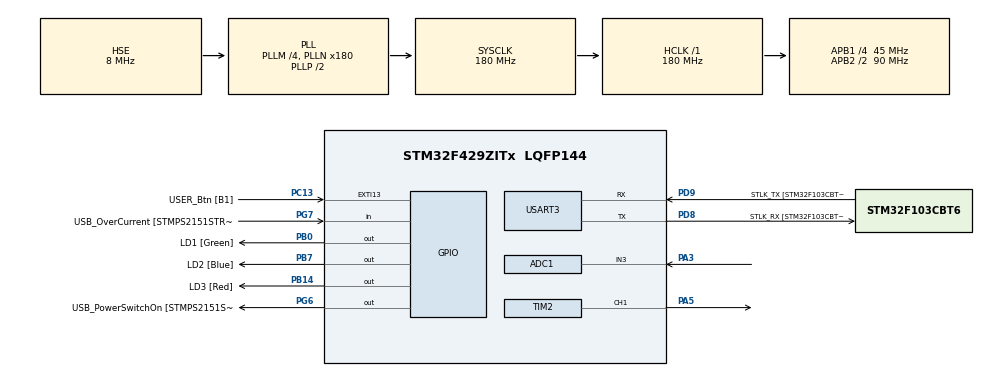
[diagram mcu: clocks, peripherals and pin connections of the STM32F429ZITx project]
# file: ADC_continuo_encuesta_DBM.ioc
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ADC1.Channel-1\#ChannelRegularConversion=ADC_CHANNEL_3
ADC1.ClockPrescaler=ADC_CLOCK_SYNC_PCLK_DIV4
ADC1.ContinuousConvMode=ENABLE
ADC1.NbrOfConversion=1
ADC1.NbrOfConversionFlag=1
ADC1.Rank-1\#ChannelRegularConversion=1
ADC1.SamplingTime-1\#ChannelRegularConversion=ADC_SAMPLETIME_480CYCLES
ADC1.master=1
Mcu.Family=STM32F4
Mcu.Name=STM32F429ZITx
Mcu.Package=LQFP144
NVIC.PriorityGroup=NVIC_PRIORITYGROUP_4
PA1.GPIO_Label=RMII_REF_CLK [LAN8742A-CZ-TR_REFCLK0]
PA1.Signal=ETH_REF_CLK
PA10.GPIO_Label=USB_ID
PA10.Signal=USB_OTG_FS_ID
PA11.GPIO_Label=USB_DM
PA11.Signal=USB_OTG_FS_DM
PA12.GPIO_Label=USB_DP
PA12.Signal=USB_OTG_FS_DP
PA13.GPIO_Label=TMS
PA13.Mode=Serial_Wire
PA13.Signal=SYS_JTMS-SWDIO
PA14.GPIO_Label=TCK
PA14.Mode=Serial_Wire
PA14.Signal=SYS_JTCK-SWCLK
PA2.GPIO_Label=RMII_MDIO [LAN8742A-CZ-TR_MDIO]
PA2.Signal=ETH_MDIO
PA3.Signal=ADCx_IN3
PA5.Signal=S_TIM2_CH1_ETR
PA7.GPIO_Label=RMII_CRS_DV [LAN8742A-CZ-TR_CRS_DV]
PA7.Signal=ETH_CRS_DV
PA8.GPIO_Label=USB_SOF [TP1]
PA8.Signal=USB_OTG_FS_SOF
PA9.GPIO_Label=USB_VBUS
PA9.Signal=USB_OTG_FS_VBUS
PB0.GPIO_Label=LD1 [Green]
PB0.Signal=GPIO_Output
PB13.GPIO_Label=RMII_TXD1 [LAN8742A-CZ-TR_TXD1]
PB13.Signal=ETH_TXD1
PB14.GPIO_Label=LD3 [Red]
PB14.Signal=GPIO_Output
PB7.GPIO_Label=LD2 [Blue]
PB7.Signal=GPIO_Output
PC1.GPIO_Label=RMII_MDC [LAN8742A-CZ-TR_MDC]
PC1.Signal=ETH_MDC
PC13.GPIO_Label=USER_Btn [B1]
PC13.Signal=GPXTI13
PC14/OSC32_IN.Mode=LSE-External-Oscillator
PC14/OSC32_IN.Signal=RCC_OSC32_IN
PC15/OSC32_OUT.Mode=LSE-External-Oscillator
PC15/OSC32_OUT.Signal=RCC_OSC32_OUT
PC4.GPIO_Label=RMII_RXD0 [LAN8742A-CZ-TR_RXD0]
PC4.Signal=ETH_RXD0
PC5.GPIO_Label=RMII_RXD1 [LAN8742A-CZ-TR_RXD1]
PC5.Signal=ETH_RXD1
PD8.GPIO_Label=STLK_RX [STM32F103CBT6_PA3]
PD8.Mode=Asynchronous
PD8.Signal=USART3_TX
PD9.GPIO_Label=STLK_TX [STM32F103CBT6_PA2]
PD9.Mode=Asynchronous
PD9.Signal=USART3_RX
PG11.GPIO_Label=RMII_TX_EN [LAN8742A-CZ-TR_TXEN]
PG11.Signal=ETH_TX_EN
PG13.GPIO_Label=RMII_TXD0 [LAN8742A-CZ-TR_TXD0]
PG13.Signal=ETH_TXD0
PG6.GPIO_Label=USB_PowerSwitchOn [STMPS2151STR_EN]
PG6.Signal=GPIO_Output
PG7.GPIO_Label=USB_OverCurrent [STMPS2151STR_FAULT]
PG7.Signal=GPIO_Input
PH0/OSC_IN.GPIO_Label=MCO [STM32F103CBT6_PA8]
PH0/OSC_IN.Mode=HSE-External-Oscillator
PH0/OSC_IN.Signal=RCC_OSC_IN
PH1/OSC_OUT.Mode=HSE-External-Oscillator
PH1/OSC_OUT.Signal=RCC_OSC_OUT
ProjectManager.HeapSize=0x200
ProjectManager.StackSize=0x400
ProjectManager.TargetToolchain=STM32CubeIDE
RCC.48MHZClocksFreq_Value=51428571.428571425
RCC.AHBFreq_Value=180000000
RCC.APB1CLKDivider=RCC_HCLK_DIV4
RCC.APB1Freq_Value=45000000
RCC.APB1TimFreq_Value=90000000
RCC.APB2CLKDivider=RCC_HCLK_DIV2
RCC.APB2Freq_Value=90000000
RCC.APB2TimCLKDivider=2
RCC.APB2TimFreq_Value=180000000
RCC.CortexFreq_Value=180000000
RCC.HCLKFreq_Value=180000000
RCC.HSE_VALUE=8000000
RCC.HSI_VALUE=16000000
RCC.PLLM=4
RCC.PLLMUL=RCC_PLL_MUL9
RCC.PLLN=180
RCC.PLLQ=7
RCC.PLLSourceVirtual=RCC_PLLSOURCE_HSE
RCC.PRESCALERUSB=RCC_USBCLKSOURCE_PLL_DIV1_5
RCC.SYSCLKFreq_VALUE=180000000
RCC.SYSCLKSource=RCC_SYSCLKSOURCE_PLLCLK
RCC.SYSCLKSourceVirtual=RCC_SYSCLKSOURCE_PLLCLK
RCC.USBFreq_Value=48000000
RCC.VCOOutputFreq_Value=360000000
SH.ADCx_IN3.0=ADC1_IN3,IN3
SH.S_TIM2_CH1_ETR.0=TIM2_CH1,PWM Generation1 CH1
TIM2.AutoReloadPreload=TIM_AUTORELOAD_PRELOAD_ENABLE
TIM2.Channel-PWM\ Generation1\ CH1=TIM_CHANNEL_1
TIM2.Period=65535
TIM2.Prescaler=1
USART3.VirtualMode=VM_ASYNC
VP_TIM2_VS_ClockSourceINT.Mode=Internal
board=NUCLEO-F429ZI

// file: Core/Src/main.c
/* USER CODE BEGIN Header */
/**
  ******************************************************************************
  * @file           : main.c
  * @brief          : Ejemplo de ADC continuo solicitado por encuesta
  *                   (No veo diferencia entre continuo y único)
  ******************************************************************************
  *
  * El ejemplo se desarrolló en base a:
  * https://deepbluembedded.com/stm32-adc-read-example-dma-interrupt-polling/
  *
  ******************************************************************************
  */
/* USER CODE END Header */
#include "main.h"

/* USER CODE BEGIN Includes */
#include "uOSAL.h"

/* USER CODE END Includes */

/* USER CODE BEGIN PM */
#define DELTA 500

/* USER CODE END PM */

ADC_HandleTypeDef hadc1;

TIM_HandleTypeDef htim2;

UART_HandleTypeDef huart3;

/* USER CODE BEGIN PV */
uint32_t AD_RES = 0;

/* USER CODE END PV */

void SystemClock_Config(void);
static void MX_GPIO_Init(void);
static void MX_USART3_UART_Init(void);
static void MX_ADC1_Init(void);
static void MX_TIM2_Init(void);

int main(void)
{

  /* MCU Configuration--------------------------------------------------------*/

  /* Reset of all peripherals, Initializes the Flash interface and the Systick. */
  HAL_Init();

  /* Configure the system clock */
  SystemClock_Config();

  /* Initialize all configured peripherals */
  MX_GPIO_Init();
  MX_USART3_UART_Init();
  MX_ADC1_Init();
  MX_TIM2_Init();
  /* USER CODE BEGIN 2 */
  //-----------------------------------------------------------------------------------------------
  uint32_t Tiempo_ms = uOSALmiliseg ();
  uartInit();

  GPIO_InitTypeDef  GPIO_InitStruct;
  GPIO_InitStruct.Pin = GPIO_PIN_0;
  GPIO_InitStruct.Mode = GPIO_MODE_OUTPUT_PP;
  GPIO_InitStruct.Pull = GPIO_NOPULL;
  GPIO_InitStruct.Speed = GPIO_SPEED_FAST;
  HAL_GPIO_Init(GPIOA, &GPIO_InitStruct);

  HAL_TIM_PWM_Start(&htim2, TIM_CHANNEL_1);
  HAL_ADC_Start(&hadc1);  // Inicia la conversión continua del ADC

  //-----------------------------------------------------------------------------------------------
  /* USER CODE END 2 */

  /* Infinite loop */
  while (1)
  {

    /* USER CODE BEGIN 3 */
	//---------------------------------------------------------------------------------------------

	// Para medir tiempo
	HAL_GPIO_WritePin(GPIOA, GPIO_PIN_0, GPIO_PIN_SET);

	// Leo conversión
	HAL_ADC_Start(&hadc1);
	HAL_ADC_PollForConversion(&hadc1, 1);
	AD_RES = HAL_ADC_GetValue(&hadc1);
	HAL_GPIO_WritePin(GPIOA, GPIO_PIN_0, GPIO_PIN_RESET);

	// Actualizo PWM
    TIM2->CCR1 = (AD_RES<<4);
	//HAL_Delay(10);

	// Evalúo si envío a UART
	if (uOSALmiliseg ()-Tiempo_ms > DELTA) {
		Tiempo_ms += DELTA;
		uEscribirTextoEnteroP ("Leo:", AD_RES);

	}

  }
  //-----------------------------------------------------------------------------------------------
  /* USER CODE END 3 */
}

void SystemClock_Config(void)
{
  RCC_OscInitTypeDef RCC_OscInitStruct = {0};
  RCC_ClkInitTypeDef RCC_ClkInitStruct = {0};

  /** Configure the main internal regulator output voltage
  */
  __HAL_RCC_PWR_CLK_ENABLE();
  __HAL_PWR_VOLTAGESCALING_CONFIG(PWR_REGULATOR_VOLTAGE_SCALE1);

  /** Initializes the RCC Oscillators according to the specified parameters
  * in the RCC_OscInitTypeDef structure.
  */
  RCC_OscInitStruct.OscillatorType = RCC_OSCILLATORTYPE_HSE;
  RCC_OscInitStruct.HSEState = RCC_HSE_ON;
  RCC_OscInitStruct.PLL.PLLState = RCC_PLL_ON;
  RCC_OscInitStruct.PLL.PLLSource = RCC_PLLSOURCE_HSE;
  RCC_OscInitStruct.PLL.PLLM = 4;
  RCC_OscInitStruct.PLL.PLLN = 180;
  RCC_OscInitStruct.PLL.PLLP = RCC_PLLP_DIV2;
  RCC_OscInitStruct.PLL.PLLQ = 7;
  if (HAL_RCC_OscConfig(&RCC_OscInitStruct) != HAL_OK)
  {
    Error_Handler();
  }

  /** Activate the Over-Drive mode
  */
  if (HAL_PWREx_EnableOverDrive() != HAL_OK)
  {
    Error_Handler();
  }

  /** Initializes the CPU, AHB and APB buses clocks
  */
  RCC_ClkInitStruct.ClockType = RCC_CLOCKTYPE_HCLK|RCC_CLOCKTYPE_SYSCLK
                              |RCC_CLOCKTYPE_PCLK1|RCC_CLOCKTYPE_PCLK2;
  RCC_ClkInitStruct.SYSCLKSource = RCC_SYSCLKSOURCE_PLLCLK;
  RCC_ClkInitStruct.AHBCLKDivider = RCC_SYSCLK_DIV1;
  RCC_ClkInitStruct.APB1CLKDivider = RCC_HCLK_DIV4;
  RCC_ClkInitStruct.APB2CLKDivider = RCC_HCLK_DIV2;

  if (HAL_RCC_ClockConfig(&RCC_ClkInitStruct, FLASH_LATENCY_5) != HAL_OK)
  {
    Error_Handler();
  }
}

static void MX_ADC1_Init(void)
{

  ADC_ChannelConfTypeDef sConfig = {0};

  /** Configure the global features of the ADC (Clock, Resolution, Data Alignment and number of conversion)
  */
  hadc1.Instance = ADC1;
  hadc1.Init.ClockPrescaler = ADC_CLOCK_SYNC_PCLK_DIV4;
  hadc1.Init.Resolution = ADC_RESOLUTION_12B;
  hadc1.Init.ScanConvMode = DISABLE;
  hadc1.Init.ContinuousConvMode = ENABLE;
  hadc1.Init.DiscontinuousConvMode = DISABLE;
  hadc1.Init.ExternalTrigConvEdge = ADC_EXTERNALTRIGCONVEDGE_NONE;
  hadc1.Init.ExternalTrigConv = ADC_SOFTWARE_START;
  hadc1.Init.DataAlign = ADC_DATAALIGN_RIGHT;
  hadc1.Init.NbrOfConversion = 1;
  hadc1.Init.DMAContinuousRequests = DISABLE;
  hadc1.Init.EOCSelection = ADC_EOC_SINGLE_CONV;
  if (HAL_ADC_Init(&hadc1) != HAL_OK)
  {
    Error_Handler();
  }

  /** Configure for the selected ADC regular channel its corresponding rank in the sequencer and its sample time.
  */
  sConfig.Channel = ADC_CHANNEL_3;
  sConfig.Rank = 1;
  sConfig.SamplingTime = ADC_SAMPLETIME_480CYCLES;
  if (HAL_ADC_ConfigChannel(&hadc1, &sConfig) != HAL_OK)
  {
    Error_Handler();
  }

}

static void MX_TIM2_Init(void)
{

  TIM_ClockConfigTypeDef sClockSourceConfig = {0};
  TIM_MasterConfigTypeDef sMasterConfig = {0};
  TIM_OC_InitTypeDef sConfigOC = {0};

  htim2.Instance = TIM2;
  htim2.Init.Prescaler = 1;
  htim2.Init.CounterMode = TIM_COUNTERMODE_UP;
  htim2.Init.Period = 65535;
  htim2.Init.ClockDivision = TIM_CLOCKDIVISION_DIV1;
  htim2.Init.AutoReloadPreload = TIM_AUTORELOAD_PRELOAD_ENABLE;
  if (HAL_TIM_Base_Init(&htim2) != HAL_OK)
  {
    Error_Handler();
  }
  sClockSourceConfig.ClockSource = TIM_CLOCKSOURCE_INTERNAL;
  if (HAL_TIM_ConfigClockSource(&htim2, &sClockSourceConfig) != HAL_OK)
  {
    Error_Handler();
  }
  if (HAL_TIM_PWM_Init(&htim2) != HAL_OK)
  {
    Error_Handler();
  }
  sMasterConfig.MasterOutputTrigger = TIM_TRGO_RESET;
  sMasterConfig.MasterSlaveMode = TIM_MASTERSLAVEMODE_DISABLE;
  if (HAL_TIMEx_MasterConfigSynchronization(&htim2, &sMasterConfig) != HAL_OK)
  {
    Error_Handler();
  }
  sConfigOC.OCMode = TIM_OCMODE_PWM1;
  sConfigOC.Pulse = 0;
  sConfigOC.OCPolarity = TIM_OCPOLARITY_HIGH;
  sConfigOC.OCFastMode = TIM_OCFAST_DISABLE;
  if (HAL_TIM_PWM_ConfigChannel(&htim2, &sConfigOC, TIM_CHANNEL_1) != HAL_OK)
  {
    Error_Handler();
  }
  HAL_TIM_MspPostInit(&htim2);

}

static void MX_USART3_UART_Init(void)
{

  huart3.Instance = USART3;
  huart3.Init.BaudRate = 115200;
  huart3.Init.WordLength = UART_WORDLENGTH_8B;
  huart3.Init.StopBits = UART_STOPBITS_1;
  huart3.Init.Parity = UART_PARITY_NONE;
  huart3.Init.Mode = UART_MODE_TX_RX;
  huart3.Init.HwFlowCtl = UART_HWCONTROL_NONE;
  huart3.Init.OverSampling = UART_OVERSAMPLING_16;
  if (HAL_UART_Init(&huart3) != HAL_OK)
  {
    Error_Handler();
  }

}

static void MX_GPIO_Init(void)
{
  GPIO_InitTypeDef GPIO_InitStruct = {0};

  /* GPIO Ports Clock Enable */
  __HAL_RCC_GPIOC_CLK_ENABLE();
  __HAL_RCC_GPIOH_CLK_ENABLE();
  __HAL_RCC_GPIOA_CLK_ENABLE();
  __HAL_RCC_GPIOB_CLK_ENABLE();
  __HAL_RCC_GPIOD_CLK_ENABLE();
  __HAL_RCC_GPIOG_CLK_ENABLE();

  /*Configure GPIO pin Output Level */
  HAL_GPIO_WritePin(GPIOB, LD1_Pin|LD3_Pin|LD2_Pin, GPIO_PIN_RESET);

  /*Configure GPIO pin Output Level */
  HAL_GPIO_WritePin(USB_PowerSwitchOn_GPIO_Port, USB_PowerSwitchOn_Pin, GPIO_PIN_RESET);

  /*Configure GPIO pin : USER_Btn_Pin */
  GPIO_InitStruct.Pin = USER_Btn_Pin;
  GPIO_InitStruct.Mode = GPIO_MODE_IT_RISING;
  GPIO_InitStruct.Pull = GPIO_NOPULL;
  HAL_GPIO_Init(USER_Btn_GPIO_Port, &GPIO_InitStruct);

  /*Configure GPIO pins : RMII_MDC_Pin RMII_RXD0_Pin RMII_RXD1_Pin */
  GPIO_InitStruct.Pin = RMII_MDC_Pin|RMII_RXD0_Pin|RMII_RXD1_Pin;
  GPIO_InitStruct.Mode = GPIO_MODE_AF_PP;
  GPIO_InitStruct.Pull = GPIO_NOPULL;
  GPIO_InitStruct.Speed = GPIO_SPEED_FREQ_VERY_HIGH;
  GPIO_InitStruct.Alternate = GPIO_AF11_ETH;
  HAL_GPIO_Init(GPIOC, &GPIO_InitStruct);

  /*Configure GPIO pins : RMII_REF_CLK_Pin RMII_MDIO_Pin RMII_CRS_DV_Pin */
  GPIO_InitStruct.Pin = RMII_REF_CLK_Pin|RMII_MDIO_Pin|RMII_CRS_DV_Pin;
  GPIO_InitStruct.Mode = GPIO_MODE_AF_PP;
  GPIO_InitStruct.Pull = GPIO_NOPULL;
  GPIO_InitStruct.Speed = GPIO_SPEED_FREQ_VERY_HIGH;
  GPIO_InitStruct.Alternate = GPIO_AF11_ETH;
  HAL_GPIO_Init(GPIOA, &GPIO_InitStruct);

  /*Configure GPIO pins : LD1_Pin LD3_Pin LD2_Pin */
  GPIO_InitStruct.Pin = LD1_Pin|LD3_Pin|LD2_Pin;
  GPIO_InitStruct.Mode = GPIO_MODE_OUTPUT_PP;
  GPIO_InitStruct.Pull = GPIO_NOPULL;
  GPIO_InitStruct.Speed = GPIO_SPEED_FREQ_LOW;
  HAL_GPIO_Init(GPIOB, &GPIO_InitStruct);

  /*Configure GPIO pin : RMII_TXD1_Pin */
  GPIO_InitStruct.Pin = RMII_TXD1_Pin;
  GPIO_InitStruct.Mode = GPIO_MODE_AF_PP;
  GPIO_InitStruct.Pull = GPIO_NOPULL;
  GPIO_InitStruct.Speed = GPIO_SPEED_FREQ_VERY_HIGH;
  GPIO_InitStruct.Alternate = GPIO_AF11_ETH;
  HAL_GPIO_Init(RMII_TXD1_GPIO_Port, &GPIO_InitStruct);

  /*Configure GPIO pin : USB_PowerSwitchOn_Pin */
  GPIO_InitStruct.Pin = USB_PowerSwitchOn_Pin;
  GPIO_InitStruct.Mode = GPIO_MODE_OUTPUT_PP;
  GPIO_InitStruct.Pull = GPIO_NOPULL;
  GPIO_InitStruct.Speed = GPIO_SPEED_FREQ_LOW;
  HAL_GPIO_Init(USB_PowerSwitchOn_GPIO_Port, &GPIO_InitStruct);

  /*Configure GPIO pin : USB_OverCurrent_Pin */
  GPIO_InitStruct.Pin = USB_OverCurrent_Pin;
  GPIO_InitStruct.Mode = GPIO_MODE_INPUT;
  GPIO_InitStruct.Pull = GPIO_NOPULL;
  HAL_GPIO_Init(USB_OverCurrent_GPIO_Port, &GPIO_InitStruct);

  /*Configure GPIO pins : USB_SOF_Pin USB_ID_Pin USB_DM_Pin USB_DP_Pin */
  GPIO_InitStruct.Pin = USB_SOF_Pin|USB_ID_Pin|USB_DM_Pin|USB_DP_Pin;
  GPIO_InitStruct.Mode = GPIO_MODE_AF_PP;
  GPIO_InitStruct.Pull = GPIO_NOPULL;
  GPIO_InitStruct.Speed = GPIO_SPEED_FREQ_VERY_HIGH;
  GPIO_InitStruct.Alternate = GPIO_AF10_OTG_FS;
  HAL_GPIO_Init(GPIOA, &GPIO_InitStruct);

  /*Configure GPIO pin : USB_VBUS_Pin */
  GPIO_InitStruct.Pin = USB_VBUS_Pin;
  GPIO_InitStruct.Mode = GPIO_MODE_INPUT;
  GPIO_InitStruct.Pull = GPIO_NOPULL;
  HAL_GPIO_Init(USB_VBUS_GPIO_Port, &GPIO_InitStruct);

  /*Configure GPIO pins : RMII_TX_EN_Pin RMII_TXD0_Pin */
  GPIO_InitStruct.Pin = RMII_TX_EN_Pin|RMII_TXD0_Pin;
  GPIO_InitStruct.Mode = GPIO_MODE_AF_PP;
  GPIO_InitStruct.Pull = GPIO_NOPULL;
  GPIO_InitStruct.Speed = GPIO_SPEED_FREQ_VERY_HIGH;
  GPIO_InitStruct.Alternate = GPIO_AF11_ETH;
  HAL_GPIO_Init(GPIOG, &GPIO_InitStruct);

}

void Error_Handler(void)
{
  __disable_irq();
  while (1)
  {
  }
}
